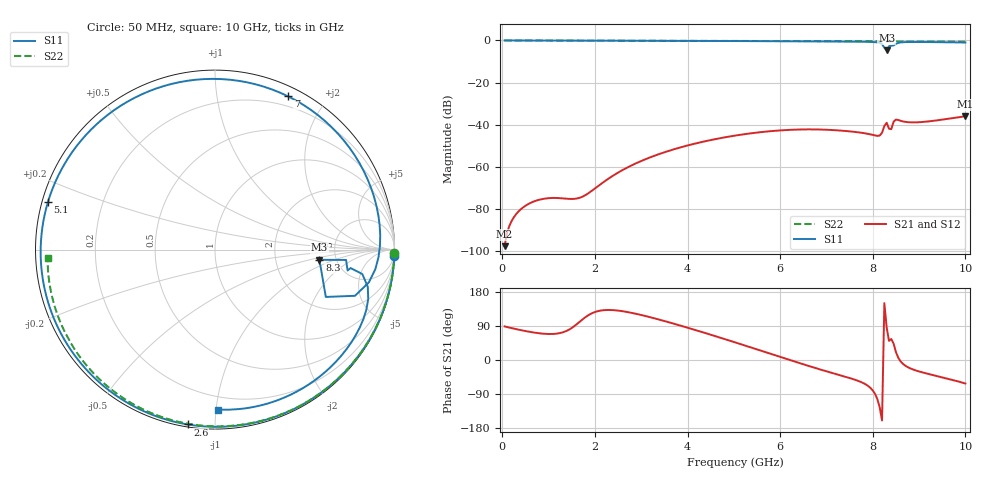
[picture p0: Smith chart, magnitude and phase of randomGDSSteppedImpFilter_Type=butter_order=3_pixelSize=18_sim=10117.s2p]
! freq	dB(S11)	phase(S11)	dB(S12)	phase(S12)
!  dB(S21)	phase(S21)	dB(S22)	phase(S22)
!S-par simulation data
#  GHz  S  DB  R 50
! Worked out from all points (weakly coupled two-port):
!   200 points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, 50 MHz to 10 GHz, reference 50 ohm
!   highest |S21| = -36.00 dB at 10 GHz (marker M1); lowest = -97.7 dB at 50 MHz (marker M2)
!   lowest |S11| = -4.7 dB at 8.3 GHz (marker M3), VSWR 3.81, Z = 185 - j31.8 ohm
!   |S11| at or under -10 dB: nowhere
!   |S22| runs from -0.6 to 0.0 dB; largest |S21 - S12| = 0
!   S11 on the Smith chart (normalised r, x): 50 MHz: 1, -58; 2.6 GHz: 0.01, -0.86; 5.1 GHz: 0.02, +0.14; 7 GHz: 0.10, +1.58; 8.3 GHz: 3.70, -0.64; 10 GHz: 0.12, -1.01
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0.05  -0.00 -2.0  -97.72 88.6  -97.72 88.6  -0.00 -1.0
0.4  -0.02 -15.7  -80.19 78.9  -80.19 78.9  -0.01 -7.9
0.85  -0.04 -33.2  -75.39 69.8  -75.39 69.8  -0.02 -16.8
1.75  -0.08 -67.4  -74.01 108.8  -74.01 108.8  -0.04 -34.3
2.6  -0.12 -98.9  -61.53 128.7  -61.53 128.7  -0.06 -50.3
3.4  -0.16 -128.4  -53.87 106.2  -53.87 106.2  -0.09 -65.0
4.3  -0.22 -162.7  -48.28 74.2  -48.28 74.2  -0.12 -80.9
5.05  -0.28 166.1  -45.11 45.6  -45.11 45.6  -0.15 -93.8
5.1  -0.29 163.9  -44.94 43.7  -44.94 43.7  -0.15 -94.6
6  -0.38 120.8  -42.74 8.2  -42.74 8.2  -0.19 -109.6
6.7  -0.45 82.2  -42.25 -18.9  -42.25 -18.9  -0.24 -121.1
7  -0.48 64.5  -42.41 -29.9  -42.41 -29.9  -0.26 -126.0
7.5  -0.55 34.0  -43.18 -47.6  -43.18 -47.6  -0.30 -134.2
7.9  -0.66 8.3  -44.38 -68.6  -44.38 -68.6  -0.34 -140.8
8.2  -1.71 -18.3  -43.85 -159.5  -43.85 -159.5  -0.37 -145.7
8.25  -3.46 -23.1  -40.65 149.9  -40.65 149.9  -0.38 -146.6
8.3  -4.66 -5.6  -39.08 86.0  -39.08 86.0  -0.38 -147.4
8.35  -2.70 -4.5  -41.92 50.5  -41.92 50.5  -0.39 -148.2
8.5  -1.60 -9.4  -37.60 20.9  -37.60 20.9  -0.41 -150.7
8.75  -0.76 -28.4  -38.81 -18.5  -38.81 -18.5  -0.43 -155.0
9.35  -0.79 -60.1  -38.07 -41.2  -38.07 -41.2  -0.50 -165.4
10  -1.00 -88.9  -36.00 -62.1  -36.00 -62.1  -0.59 -177.1
